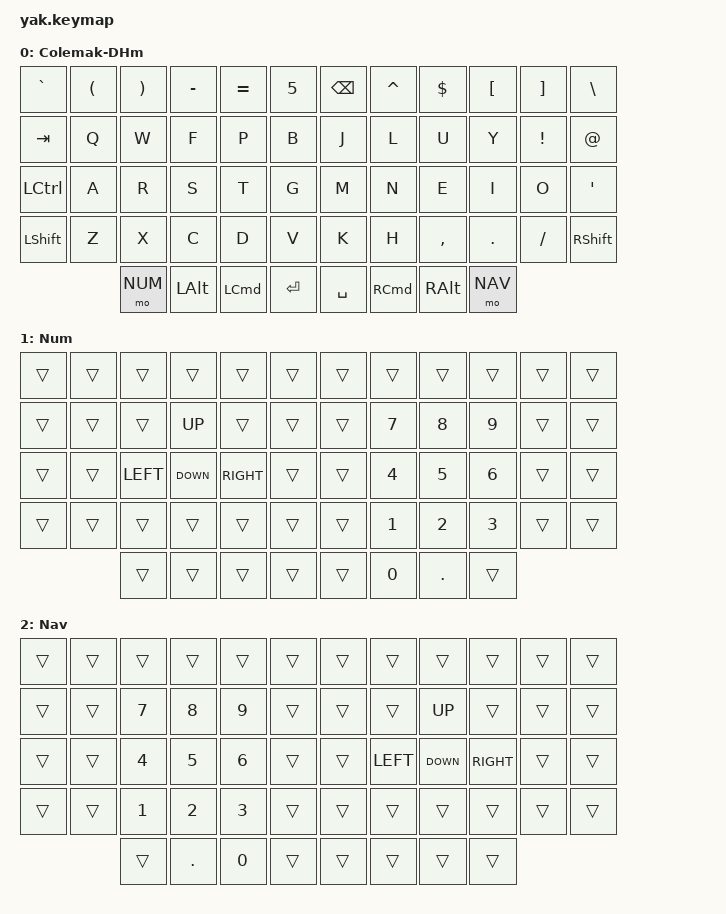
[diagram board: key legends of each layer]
#include <behaviors.dtsi>
#include <dt-bindings/zmk/keys.h>
// #include <dt-bindings/zmk/bt.h>
#include <dt-bindings/zmk/outputs.h>

#define NUM 1
#define NAV 2

// Using layer taps on thumbs, having quick tap as well helps w/ repeating space/backspace
&lt { quick_tap_ms = <200>; };

/ {
    combos {
        compatible = "zmk,combos";

        fn_mo {
	    timeout-ms = <50>;
            key-positions = <32 33>;
            bindings = <&mo FUN_L>;
        };

        media_mo {
	    timeout-ms = <50>;
            key-positions = <30 31>;
            bindings = <&mo MED_L>;
        };

	/*
        caps_word_combo {
	    timeout-ms = <50>;
            key-positions = <13 16>;
            bindings = <&caps_word>;
        };
	*/
    };

    behaviors {
        // hm: homerow_mods {
        //     compatible = "zmk,behavior-hold-tap";
        //     label = "homerow mods";
        //     #binding-cells = <2>;
        //     tapping_term_ms = <200>;
        //     flavor = "tap-preferred";
        //     bindings = <&kp>, <&kp>;
        // };
    };

    keymap {
        compatible = "zmk,keymap";

        colemak_dhm_layer {
            label = "Colemak-DHm";
            bindings = <
                &kp GRAVE  &kp LPAR   &kp RPAR   &kp MINUS  &kp EQUAL  &kp N5        &kp BSPC   &kp CARET  &kp DOLLAR &kp LBKT   &kp RBKT   &kp BSLH
                &kp TAB    &kp Q      &kp W      &kp F      &kp P      &kp B         &kp J      &kp L      &kp U      &kp Y      &kp EXCL   &kp AT
                &kp LCTRL  &kp A      &kp R      &kp S      &kp T      &kp G         &kp M      &kp N      &kp E      &kp I      &kp O      &kp QUOT
                &kp LSHFT  &kp Z      &kp X      &kp C      &kp D      &kp V         &kp K      &kp H      &kp COMMA  &kp DOT    &kp FSLH   &kp RSHFT
                                     &mo  NUM    &kp LALT   &kp LCMD    &kp RETURN  &kp SPACE   &kp RCMD   &kp RALT    &mo NAV
            >;
        };

        num_layer {
            label = "Num";
            bindings = <
                &trans     &trans     &trans     &trans     &trans     &trans        &trans     &trans     &trans     &trans     &trans     &trans
                &trans     &trans     &trans     &UP        &trans     &trans        &trans     &kp N7     &kp N8     &kp N9     &trans     &trans
                &trans     &trans     &LEFT      &DOWN      &RIGHT     &trans        &trans     &kp N4     &kp N5     &kp N6     &trans     &trans
                &trans     &trans     &trans     &trans     &trans     &trans        &trans     &kp N1     &kp N2     &kp N3     &trans     &trans
                                     &trans      &trans     &trans      &trans      &trans      &kp N0     &kp DOT     &trans
            >;
        };

        nav_layer {
            label = "Nav";
            bindings = <
                &trans     &trans     &trans     &trans     &trans     &trans        &trans     &trans     &trans     &trans     &trans     &trans
                &trans     &trans     &kp N7     &kp N8     &kp N9     &trans        &trans     &trans     &UP        &trans     &trans     &trans
                &trans     &trans     &kp N4     &kp N5     &kp N6     &trans        &trans     &LEFT      &DOWN      &RIGHT     &trans     &trans
                &trans     &trans     &kp N1     &kp N2     &kp N3     &trans        &trans     &trans     &trans     &trans     &trans     &trans
                                     &trans      &kp DOT    &kp N0      &trans      &trans      &trans     &trans      &trans
            >;
        };
    };
};
